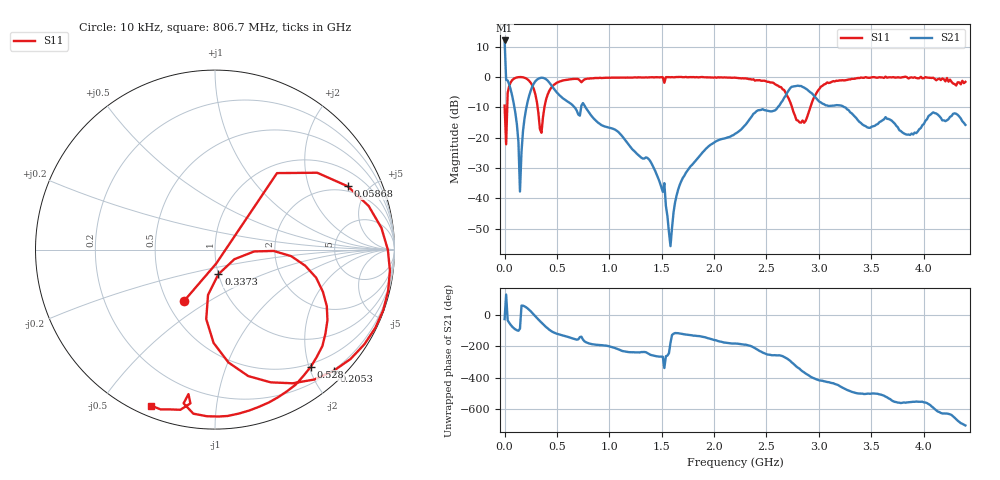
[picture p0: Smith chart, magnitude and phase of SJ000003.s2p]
!File created by NanoVNA-F V2
# Hz S RI R 50
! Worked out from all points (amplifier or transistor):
!   301 points, 10 kHz to 4.4 GHz, reference 50 ohm
!   highest |S21| = 12.0 dB at 10 kHz (marker M1)
!   |S21| within 3 dB of that: start of sweep to 3.395 MHz
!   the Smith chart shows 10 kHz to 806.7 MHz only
!   S11 on the Smith chart (normalised r, x): 10 kHz: 0.61, -0.40; 58.68 MHz: 1.71, +3.68; 205.3 MHz: 0.19, -2.37; 337.3 MHz: 1.00, -0.28; 528 MHz: 0.45, -2.03; 806.7 MHz: 0.05, -0.67
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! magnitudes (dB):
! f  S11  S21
! 10 kHz  -9.4  12.0
! 14.68 MHz  -22.2  -1.0
! 29.34 MHz  -5.2  -1.1
! 58.68 MHz  -1.7  -4.2
! 117.3 MHz  -0.2  -15.6
! 146.7 MHz  0.0  -37.7
! 176 MHz  -0.1  -17.7
! 205.3 MHz  -0.5  -10.5
! 337.3 MHz  -17.2  -0.4
! 528 MHz  -1.5  -6.2
! 733.3 MHz  -1.7  -9.4
! 806.7 MHz  -0.5  -11.8
! 1.467 GHz  -0.1  -33.3
! 1.525 GHz  -1.9  -35.0
! 1.584 GHz  -0.1  -55.7
! 1.701 GHz  -0.1  -33.3
! 2.2 GHz  -0.2  -18.7
! 2.64 GHz  -3.3  -8.5
! 2.816 GHz  -14.9  -3.0
! 2.933 GHz  -8.6  -5.4
! 3.667 GHz  -0.1  -13.8
! 4.4 GHz  -1.6  -15.8
